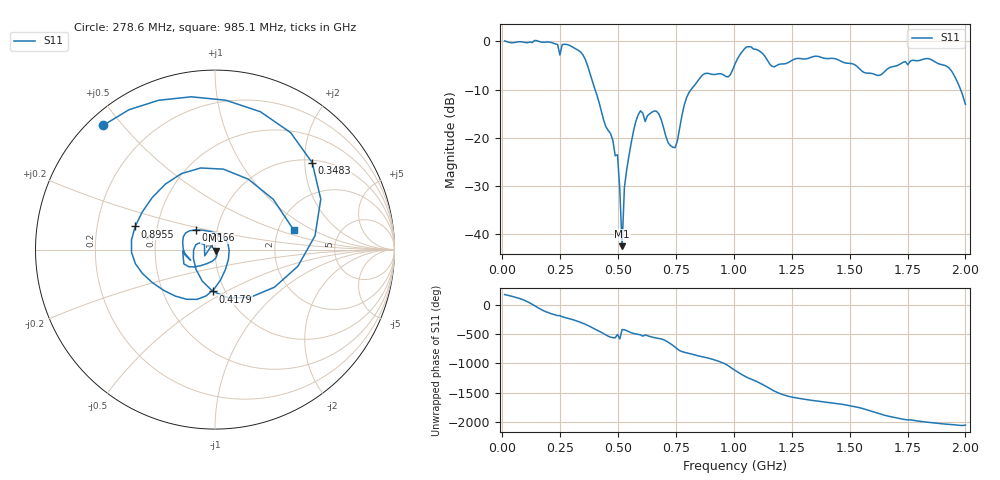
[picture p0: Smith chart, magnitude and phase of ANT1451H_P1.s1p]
!Created with skrf (http://scikit-rf.org).
# Hz S RI R 50.0
!freq ReS11 ImS11
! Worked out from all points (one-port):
!   201 points, 10 MHz to 2 GHz, reference 50 ohm
!   lowest |S11| = -42.5 dB at 517.5 MHz (marker M1), VSWR 1.02, Z = 50.3 - j0.683 ohm
!   |S11| at or under -10 dB: 400.8 MHz to 814.9 MHz (414.2 MHz wide, 68.1 % of centre); 1.98 GHz to end of sweep
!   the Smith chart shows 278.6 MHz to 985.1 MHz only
!   S11 on the Smith chart (normalised r, x): 278.6 MHz: 0.04, +0.45; 348.3 MHz: 1.06, +2.18; 417.9 MHz: 0.88, -0.43; 686.6 MHz: 0.79, +0.18; 895.5 MHz: 0.37, +0.12; 985.1 MHz: 2.44, +0.66
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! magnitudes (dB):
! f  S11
! 10 MHz  0.1
! 209 MHz  -0.2
! 248.8 MHz  -2.8
! 258.8 MHz  -0.6
! 278.6 MHz  -0.6
! 348.3 MHz  -2.8
! 417.9 MHz  -12.6
! 497.6 MHz  -23.5
! 507.5 MHz  -30.8
! 517.5 MHz  -42.5
! 527.4 MHz  -30.3
! 577.1 MHz  -16.5
! 597 MHz  -14.4
! 686.6 MHz  -16.2
! 716.5 MHz  -21.0
! 756.2 MHz  -20.6
! 806 MHz  -10.6
! 895.5 MHz  -6.7
! 985.1 MHz  -6.9
! 1.005 GHz  -4.7
! 1.065 GHz  -1.1
! 1.164 GHz  -5.1
! 1.254 GHz  -3.8
! 1.502 GHz  -4.6
! 1.622 GHz  -7.1
! 1.751 GHz  -4.8
! 1.92 GHz  -5.2
! 2 GHz  -13.0
